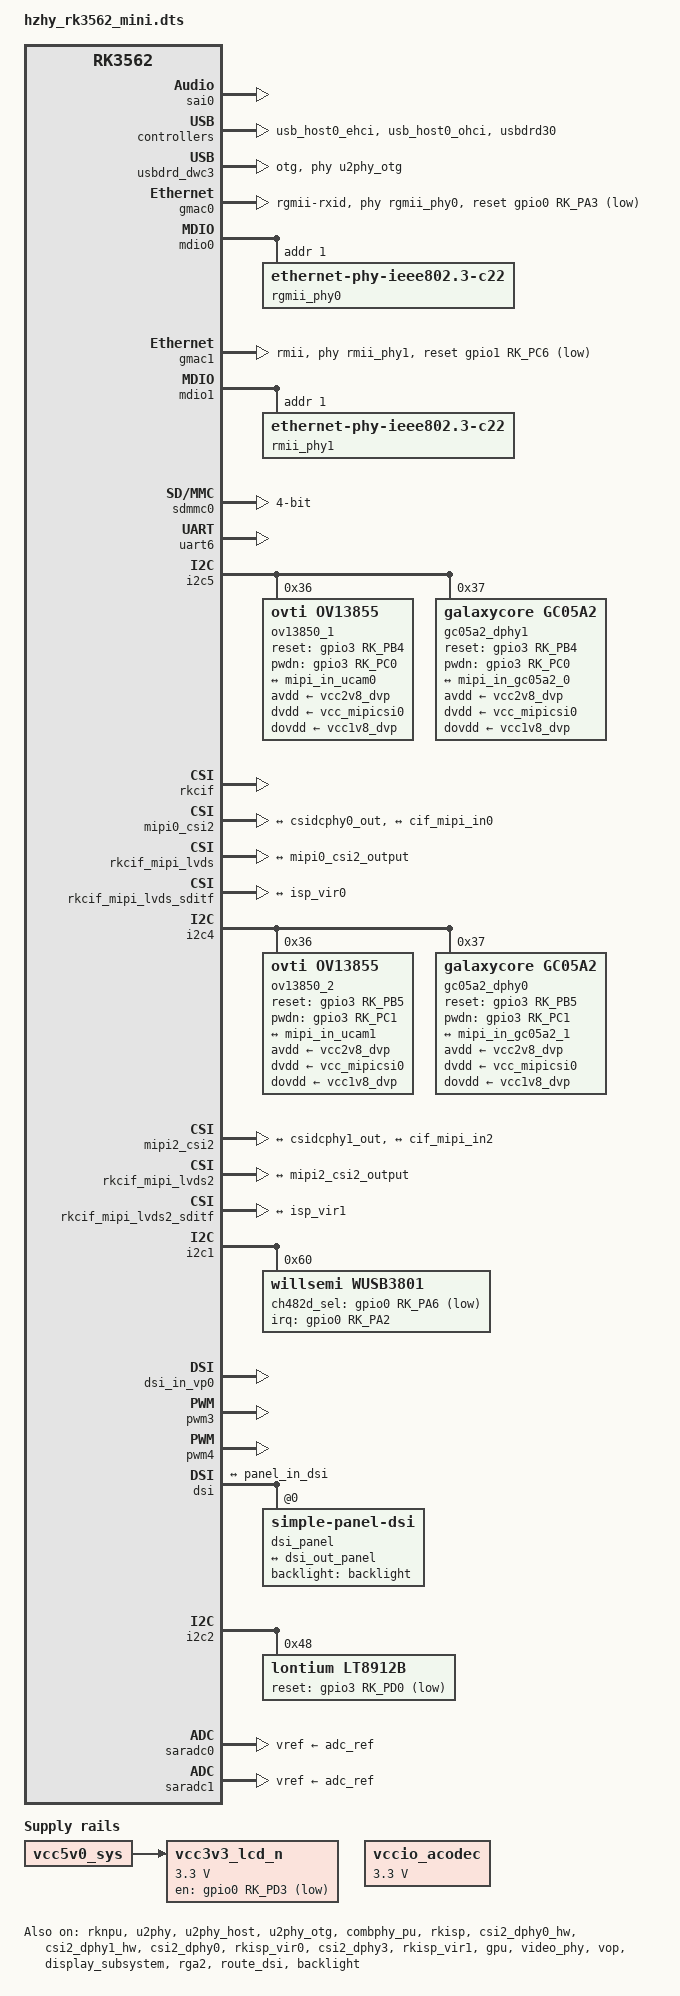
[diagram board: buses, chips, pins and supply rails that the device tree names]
// SPDX-License-Identifier: (GPL-2.0+ OR MIT)
/*
 * Copyright (c) 2022 Rockchip Electronics Co., Ltd.
 *
 * HZ-RK3562 MiniEVM - ported from vendor SDK kernel-5.10 to Rockchip BSP 6.1
 * (armbian/linux-rockchip rk-6.1-rkr7.2). Changes vs. vendor 5.10:
 *  - removed duplicate #include "rk3562-rk809.dtsi" (already in hzhy_rk3562_mini.dtsi)
 *  - DSI flags: MIPI_DSI_MODE_VIDEO_HBP -> MIPI_DSI_MODE_VIDEO_NO_HBP,
 *               MIPI_DSI_MODE_EOT_PACKET -> MIPI_DSI_MODE_NO_EOT_PACKET
 *    (6.1 renamed macros, identical bit values => identical behaviour)
 *  - disabled EVB touchscreen nodes (gt1x@14, hynitron@5a) inherited from
 *    rk3562-evb.dtsi: not present on this board, they toggled GPIO0_A0/GPIO0_B0
 */
#include "hzhy_rk3562_mini.dtsi"
#include "HZ-MiniEVM_EXP.dtsi"

/ {
	version = "v1.1.0_20250321";
};

&rknpu {
    status = "okay";
};

&rknpu_mmu {
    status = "okay";
};

&sai0 {
	status = "okay";
	pinctrl-names = "default";
	pinctrl-0 = <&i2s0m0_lrck
		     &i2s0m0_sclk
		     &i2s0m0_sdi0
		     &i2s0m0_sdo0>;
};

&spdif_8ch {
	pinctrl-0 = <&spdifm0_pins>;
	status = "disabled";
};

&vcc3v3_lcd_n {
	gpio = <&gpio0 RK_PD3 GPIO_ACTIVE_HIGH>;
	regulator-min-microvolt = <3300000>;
	regulator-max-microvolt = <3300000>;
	regulator-always-on;
	regulator-boot-on;
	startup-delay-us = <100000>;
	pinctrl-names = "default";
	pinctrl-0 = <&lcd_pwr_en>;
	vin-supply = <&vcc5v0_sys>;
};



//=================================================================
//USB2.0
&u2phy {
	status = "okay";
};

&u2phy_host {
	status = "okay";
	phy-supply = <&vcc5v0_usb_host>;
};

&u2phy_otg {
	status = "okay";
	vbus-supply = <&vcc5v0_usb_otg>;
};

&usb_host0_ehci {
	status = "okay";
};

&usb_host0_ohci {
	status = "okay";
};

//==================================================================
//USB3.0
&usbdrd30 {
	status = "okay";
};

&combphy_pu {
	status = "okay";
};

&usbdrd_dwc3 {
	status = "okay";
        dr_mode = "otg";
	extcon = <&u2phy>;
        phys =  <&u2phy_otg>, <&combphy_pu PHY_TYPE_USB3>;
        phy-names = "usb2-phy", "usb3-phy";
};

//==================================================================
//网口 rtl8211  eth0
&gmac0 {
	/* Use rgmii-rxid mode to disable rx delay inside Soc */
	phy-mode = "rgmii-rxid";
	clock_in_out = "output";

	snps,reset-gpio = <&gpio0 RK_PA3 GPIO_ACTIVE_LOW>;
	snps,reset-active-low;
	/* Reset time is 20ms, 100ms for rtl8211f */
	snps,reset-delays-us = <0 20000 100000>;

	tx_delay = <0x42>;

	pinctrl-names = "default";
	pinctrl-0 = <&rgmiim0_miim
		     &rgmiim0_tx_bus2
		     &rgmiim0_rx_bus2
		     &rgmiim0_rgmii_clk
		     &rgmiim0_rgmii_bus
             >;

	phy-handle = <&rgmii_phy0>;
	status = "okay";
};

&mdio0 {
	rgmii_phy0: phy@0 {
		compatible = "ethernet-phy-ieee802.3-c22";
		reg = <0x1>;
		clocks = <&cru CLK_GMAC_ETH_OUT2IO>;
		assigned-clocks = <&cru CLK_GMAC_ETH_OUT2IO>;
		assigned-clock-rates = <25000000>;
	};
};

//8512 eth1
&gmac1 {
	status = "okay";
	/* Use rgmii-rxid mode to disable rx delay inside Soc */
	phy-mode = "rmii";
	clock_in_out = "input";

	snps,reset-gpio = <&gpio1 RK_PC6 GPIO_ACTIVE_LOW>;
	snps,reset-active-low;
	/* Reset time is 20ms, 100ms for rtl8211f */
	snps,reset-delays-us = <0 20000 100000>;

	pinctrl-names = "default";
	pinctrl-0 = <&rmii_pins
		     &ethm1_pins>;

	phy-handle = <&rmii_phy1>;	
};

&mdio1 {
	rmii_phy1: phy@1 {
		compatible = "ethernet-phy-ieee802.3-c22";
		reg = <0x1>;
		clocks = <&cru CLK_GMAC_ETH_OUT2IO>;
		assigned-clocks = <&cru CLK_GMAC_ETH_OUT2IO>;
		assigned-clock-rates = <25000000>;
	};
};

//==================================================================
//SD
&sdmmc0 {
	max-frequency = <150000000>;
	no-sdio;
	no-mmc;
	bus-width = <4>;
	cap-mmc-highspeed;
	cap-sd-highspeed;
	disable-wp;
	pinctrl-names = "default";
	pinctrl-0 = <&sdmmc0_bus4 &sdmmc0_clk &sdmmc0_cmd &sdmmc0_det>;
	status = "okay";
};

&vccio_acodec{
        regulator-always-on;
        regulator-boot-on;
        regulator-min-microvolt = <3300000>;
        regulator-max-microvolt = <3300000>;
        regulator-name = "vccio_acodec";
        regulator-state-mem {
                regulator-off-in-suspend;
        };
};

//==================================================================
//RS485
&uart6 {
     pinctrl-names = "default";
     pinctrl-0 = <&uart6m0_xfer>;
     status = "disabled";
};


//==================================================================
//MIPI camera imx415  
 &i2c5{
     status = "okay";
     pinctrl-names = "default";
     pinctrl-0 = <&i2c5m0_xfer>;
	
     ov13850_1: ov13850_1@36 {
         status = "okay";
         compatible = "ovti,ov13855";
	
         reg = <0x36>;
		
         clocks = <&cru CLK_CAM0_OUT2IO>;
         clock-names = "xvclk";
         pinctrl-names = "rockchip,camera_default";
         pinctrl-0 = <&camm0_clk0_out>;

 		reset-gpios = <&gpio3 RK_PB4 GPIO_ACTIVE_HIGH>;
 	 	pwdn-gpios = <&gpio3 RK_PC0 GPIO_ACTIVE_HIGH>;

 		avdd-supply = <&vcc2v8_dvp>;
 		dvdd-supply = <&vcc_mipicsi0>;
 		dovdd-supply = <&vcc1v8_dvp>;
        
         rockchip,camera-module-index = <1>;
         rockchip,camera-module-facing = "back";
         rockchip,camera-module-name = "KYT-10203-v1";
         rockchip,camera-module-lens-name = "default";
	

 		port {
             ov13850_out0: endpoint {
                 remote-endpoint = <&mipi_in_ucam0>;
                 data-lanes = <1 2 3 4>;
             };
         };
     };

     gc05a2_dphy1: gc05a2-0@37 {
         compatible = "galaxycore,gc05a2";
         status = "okay";
         reg = <0x37>;
     
         clocks = <&cru CLK_CAM0_OUT2IO>;
         clock-names = "xvclk";
         pinctrl-names = "rockchip,camera_default";
         pinctrl-0 = <&camm0_clk0_out>;
     
                 reset-gpios = <&gpio3 RK_PB4 GPIO_ACTIVE_HIGH>;
                 pwdn-gpios = <&gpio3 RK_PC0 GPIO_ACTIVE_HIGH>;
     
                 avdd-supply = <&vcc2v8_dvp>;
                 dvdd-supply = <&vcc_mipicsi0>;
                 dovdd-supply = <&vcc1v8_dvp>;
         rockchip,camera-module-index = <0>;
         rockchip,camera-module-facing = "back";
         rockchip,camera-module-name = "KYT-11210-V2";
         rockchip,camera-module-lens-name = "default";
     
         port {
                 gc05a2_out_dphy0: endpoint {
                     remote-endpoint = <&mipi_in_gc05a2_0>;
                     data-lanes = <1 2>;
                 };
             };
         };
 };
//MIPI cif isp

&rkcif{
    status = "okay";
};

&rkcif_mmu{
    status = "okay";
};

&rkisp {
    status = "okay";
};

&rkisp_mmu {
    status = "okay";
};

&csi2_dphy0_hw {
    status = "okay";
};
&csi2_dphy1_hw {
    status = "okay";
};


//U14
&csi2_dphy0 {
    status = "okay";
    ports {
        #address-cells = <1>;
        #size-cells = <0>;
        port@0 {
            reg = <0>;
            #address-cells = <1>;
            #size-cells = <0>;

            mipi_in_gc05a2_0: endpoint@1 {
                reg = <1>;
                remote-endpoint = <&gc05a2_out_dphy0>;
                data-lanes = <1 2>;
            };

            mipi_in_ucam0: endpoint@2 {
                reg = <1>;
                remote-endpoint = <&ov13850_out0>;
                data-lanes = <1 2 3 4>;
            };
        };
        port@1 {
            reg = <1>;
            #address-cells = <1>;
            #size-cells = <0>;
            csidcphy0_out: endpoint@0 {
                    reg = <0>;
                    remote-endpoint = <&mipi0_csi2_input>;
            };
        };
    };
};


&mipi0_csi2 {
    status = "okay";
    ports {
        #address-cells = <1>;
        #size-cells = <0>;
        port@0 {
            reg = <0>;
            #address-cells = <1>;
            #size-cells = <0>;
            mipi0_csi2_input: endpoint@1 {
                reg = <1>;
                remote-endpoint = <&csidcphy0_out>;
            };
        };
        port@1 {
            reg = <1>;
            #address-cells = <1>;
            #size-cells = <0>;
            mipi0_csi2_output: endpoint@0 {
                reg = <0>;
                remote-endpoint = <&cif_mipi_in0>;
            };
        };
    };
};


&rkcif_mipi_lvds {
    status = "okay";
    port {
        cif_mipi_in0: endpoint {
            remote-endpoint = <&mipi0_csi2_output>;
        };
    };
};

&rkcif_mipi_lvds_sditf {
    status = "okay";
    port {
        mipi0_lvds_sditf: endpoint {
            remote-endpoint = <&isp_vir0>;
        };
    };
};

&rkisp_vir0 {
    status = "okay";
    port {
        #address-cells = <1>;
        #size-cells = <0>;
        isp_vir0: endpoint@0 {
            reg = <0>;
            remote-endpoint = <&mipi0_lvds_sditf>;
        };
    };
};

&i2c4{
    status = "okay";
    pinctrl-names = "default";
    pinctrl-0 = <&i2c4m0_xfer>;

   /*DPHY1 U15 rkisp_vir1*/
   
    ov13850_2: ov13850_2@36 {
        status = "okay";
        compatible = "ovti,ov13855";
        reg = <0x36>;
		
        
        clocks = <&cru CLK_CAM1_OUT2IO>;
        clock-names = "xvclk";
		
		
        pinctrl-names = "default";
        pinctrl-0 = <&camm0_clk1_out>;
		
     	reset-gpios = <&gpio3 RK_PB5 GPIO_ACTIVE_HIGH>;
	 	pwdn-gpios = <&gpio3 RK_PC1 GPIO_ACTIVE_HIGH>;

		avdd-supply = <&vcc2v8_dvp>;
		dvdd-supply = <&vcc_mipicsi0>;
		dovdd-supply = <&vcc1v8_dvp>;
  		
        rockchip,camera-module-index = <0>;
        rockchip,camera-module-facing = "back";
        rockchip,camera-module-name = "KYT-10203-v1";
        rockchip,camera-module-lens-name = "default";
		
        port {
            imx415_out1: endpoint {
                remote-endpoint = <&mipi_in_ucam1>;
                data-lanes = <1 2 3 4>;
            };
        };
    };

    gc05a2_dphy0: gc05a2-1@37 {
        compatible = "galaxycore,gc05a2";
        status = "okay";
        reg = <0x37>;
        clocks = <&cru CLK_CAM1_OUT2IO>;
        clock-names = "xvclk";
    
    
        pinctrl-names = "default";
        pinctrl-0 = <&camm0_clk1_out>;
    
        reset-gpios = <&gpio3 RK_PB5 GPIO_ACTIVE_HIGH>;
                pwdn-gpios = <&gpio3 RK_PC1 GPIO_ACTIVE_HIGH>;
    
                avdd-supply = <&vcc2v8_dvp>;
                dvdd-supply = <&vcc_mipicsi0>;
                dovdd-supply = <&vcc1v8_dvp>;
    
        rockchip,camera-module-index = <1>;
        rockchip,camera-module-facing = "back";
        rockchip,camera-module-name = "KYT-11210-V2";
        rockchip,camera-module-lens-name = "default";
        port{
                gc05a2_out_dphy1: endpoint {
                    remote-endpoint = <&mipi_in_gc05a2_1>;
                    data-lanes = <1 2>;
            };
        };
    };
};

//U15
&csi2_dphy3 {
    status = "okay";
    ports {
        #address-cells = <1>;
        #size-cells = <0>;
        port@0 {
            reg = <0>;
            #address-cells = <1>;
            #size-cells = <0>;

            mipi_in_gc05a2_1: endpoint@1 {                                                                                                                    
                reg = <1>;
                remote-endpoint = <&gc05a2_out_dphy1>;
                data-lanes = <1 2>;
            };

            mipi_in_ucam1: endpoint@2 {
                reg = <1>;
                remote-endpoint = <&imx415_out1>;
                data-lanes = <1 2 3 4>;
            };
        };
        port@1 {
            reg = <1>;
            #address-cells = <1>;
            #size-cells = <0>;
            csidcphy1_out: endpoint@0 {
                    reg = <0>;
                    remote-endpoint = <&mipi2_csi2_input>;
            };
        };
    };
};


&mipi2_csi2 {
    status = "okay";
    ports {
        #address-cells = <1>;
        #size-cells = <0>;
        port@0 {
            reg = <0>;
            #address-cells = <1>;
            #size-cells = <0>;
            mipi2_csi2_input: endpoint@1 {
                reg = <1>;
                remote-endpoint = <&csidcphy1_out>;
            };
        };
        port@1 {
            reg = <1>;
            #address-cells = <1>;
            #size-cells = <0>;
            mipi2_csi2_output: endpoint@0 {
                reg = <0>;
                remote-endpoint = <&cif_mipi_in2>;
            };
        };
    };
};

&rkcif_mipi_lvds2 {
    status = "okay";
    port {
        cif_mipi_in2: endpoint {
            remote-endpoint = <&mipi2_csi2_output>;
        };
    };
};

&rkcif_mipi_lvds2_sditf {
    status = "okay";
    port {
        mipi2_lvds_sditf: endpoint {
            remote-endpoint = <&isp_vir1>;
        };
    };
};

&rkisp_vir1 {
    status = "okay";
    port {
        #address-cells = <1>;
        #size-cells = <0>;
        isp_vir1: endpoint@0 {
            reg = <0>;
            remote-endpoint = <&mipi2_lvds_sditf>;
        };
    };
};

&i2c1{
	status = "okay";
	pinctrl-names = "default";
	pinctrl-0 = <&i2c1m0_xfer>;

	wusb3801: tcpc@60 {
		status = "okay";
		compatible = "willsemi,wusb3801";
		reg = <0x60>;
		pinctrl-names = "default";
		pinctrl-0 = <&wusb3801_int_pin &ch482d_sel_pin>;
		interrupt-parent = <&gpio0>;
		interrupts = <RK_PA2 IRQ_TYPE_LEVEL_LOW>;
		ch482d_sel-gpios = <&gpio0 RK_PA6 GPIO_ACTIVE_LOW>;
	};
};


// GPU 
&gpu {
	status = "okay";
	mali-supply = <&vdd_gpu>;
};

//VOP
&video_phy {
	status = "okay";
};

&vop {
 status = "okay";
};

&vop_mmu {
 status = "okay";
};

&display_subsystem {
	status = "okay";
};


&rkcif{
    status = "okay";
};

&rkcif_mmu{
    status = "okay";
};

&rkisp {
    status = "okay";
};

&rkisp_mmu {
    status = "okay";
};

&csi2_dphy0_hw {
    status = "okay";
};
&csi2_dphy1_hw {
    status = "okay";
};

// RGA
&rga2 {
	status = "okay";
};

&rga2_mmu {
	status = "okay";
};


// Route
&route_dsi{
	connect = <&vp0_out_dsi>;
	status = "okay";
};

&route_lvds{
	status = "disabled";
};

&route_rgb{
	status = "disabled";
};


/* MIPI DSI0 */
&dsi_in_vp0{
	status = "okay";
};


&backlight {
	pwms = <&pwm3 0 20000 0>;
    	status = "okay";
};


&pwm3 {
	status = "okay";
};

&pwm4{
	status = "okay";
};

&dsi {
	status = "okay";
	//rockchip,lane-rate = <1000>;
	dsi_panel: panel@0 {
		status = "okay";
		compatible = "simple-panel-dsi";
		reg = <0>;
		backlight = <&backlight>;
		reset-delay-ms = <60>;
		enable-delay-ms = <60>;
		prepare-delay-ms = <60>;
		unprepare-delay-ms = <60>;
		disable-delay-ms = <60>;
		width-mm = <68>;
		height-mm = <121>;

		backlight = <&backlight>;

		// dsi,flags = <(MIPI_DSI_MODE_VIDEO | MIPI_DSI_MODE_VIDEO_BURST |
		// 	MIPI_DSI_MODE_LPM | MIPI_DSI_MODE_NO_EOT_PACKET)>;

		dsi,flags = <(MIPI_DSI_MODE_VIDEO | MIPI_DSI_MODE_VIDEO_BURST |
			MIPI_DSI_MODE_VIDEO_NO_HBP | MIPI_DSI_MODE_NO_EOT_PACKET)>;



		dsi,format = <MIPI_DSI_FMT_RGB888>;
		dsi,lanes  = <4>;
		panel-init-sequence = [
			23 00 02 FE 21
			23 00 02 04 00
			23 00 02 00 64
			23 00 02 2A 00
			23 00 02 26 64
			23 00 02 54 00
			23 00 02 50 64
			23 00 02 7B 00
			23 00 02 77 64
			23 00 02 A2 00
			23 00 02 9D 64
			23 00 02 C9 00
			23 00 02 C5 64
			23 00 02 01 71
			23 00 02 27 71
			23 00 02 51 71
			23 00 02 78 71
			23 00 02 9E 71
			23 00 02 C6 71
			23 00 02 02 89
			23 00 02 28 89
			23 00 02 52 89
			23 00 02 79 89
			23 00 02 9F 89
			23 00 02 C7 89
			23 00 02 03 9E
			23 00 02 29 9E
			23 00 02 53 9E
			23 00 02 7A 9E
			23 00 02 A0 9E
			23 00 02 C8 9E
			23 00 02 09 00
			23 00 02 05 B0
			23 00 02 31 00
			23 00 02 2B B0
			23 00 02 5A 00
			23 00 02 55 B0
			23 00 02 80 00
			23 00 02 7C B0
			23 00 02 A7 00
			23 00 02 A3 B0
			23 00 02 CE 00
			23 00 02 CA B0
			23 00 02 06 C0
			23 00 02 2D C0
			23 00 02 56 C0
			23 00 02 7D C0
			23 00 02 A4 C0
			23 00 02 CB C0
			23 00 02 07 CF
			23 00 02 2F CF
			23 00 02 58 CF
			23 00 02 7E CF
			23 00 02 A5 CF
			23 00 02 CC CF
			23 00 02 08 DD
			23 00 02 30 DD
			23 00 02 59 DD
			23 00 02 7F DD
			23 00 02 A6 DD
			23 00 02 CD DD
			23 00 02 0E 15
			23 00 02 0A E9
			23 00 02 36 15
			23 00 02 32 E9
			23 00 02 5F 15
			23 00 02 5B E9
			23 00 02 85 15
			23 00 02 81 E9
			23 00 02 AD 15
			23 00 02 A9 E9
			23 00 02 D3 15
			23 00 02 CF E9
			23 00 02 0B 14
			23 00 02 33 14
			23 00 02 5C 14
			23 00 02 82 14
			23 00 02 AA 14
			23 00 02 D0 14
			23 00 02 0C 36
			23 00 02 34 36
			23 00 02 5D 36
			23 00 02 83 36
			23 00 02 AB 36
			23 00 02 D1 36
			23 00 02 0D 6B
			23 00 02 35 6B
			23 00 02 5E 6B
			23 00 02 84 6B
			23 00 02 AC 6B
			23 00 02 D2 6B
			23 00 02 13 5A
			23 00 02 0F 94
			23 00 02 3B 5A
			23 00 02 37 94
			23 00 02 64 5A
			23 00 02 60 94
			23 00 02 8A 5A
			23 00 02 86 94
			23 00 02 B2 5A
			23 00 02 AE 94
			23 00 02 D8 5A
			23 00 02 D4 94
			23 00 02 10 D1
			23 00 02 38 D1
			23 00 02 61 D1
			23 00 02 87 D1
			23 00 02 AF D1
			23 00 02 D5 D1
			23 00 02 11 04
			23 00 02 39 04
			23 00 02 62 04
			23 00 02 88 04
			23 00 02 B0 04
			23 00 02 D6 04
			23 00 02 12 05
			23 00 02 3A 05
			23 00 02 63 05
			23 00 02 89 05
			23 00 02 B1 05
			23 00 02 D7 05
			23 00 02 18 AA
			23 00 02 14 36
			23 00 02 42 AA
			23 00 02 3D 36
			23 00 02 69 AA
			23 00 02 65 36
			23 00 02 8F AA
			23 00 02 8B 36
			23 00 02 B7 AA
			23 00 02 B3 36
			23 00 02 DD AA
			23 00 02 D9 36
			23 00 02 15 74
			23 00 02 3F 74
			23 00 02 66 74
			23 00 02 8C 74
			23 00 02 B4 74
			23 00 02 DA 74
			23 00 02 16 9F
			23 00 02 40 9F
			23 00 02 67 9F
			23 00 02 8D 9F
			23 00 02 B5 9F
			23 00 02 DB 9F
			23 00 02 17 DC
			23 00 02 41 DC
			23 00 02 68 DC
			23 00 02 8E DC
			23 00 02 B6 DC
			23 00 02 DC DC
			23 00 02 1D FF
			23 00 02 19 03
			23 00 02 47 FF
			23 00 02 43 03
			23 00 02 6E FF
			23 00 02 6A 03
			23 00 02 94 FF
			23 00 02 90 03
			23 00 02 BC FF
			23 00 02 B8 03
			23 00 02 E2 FF
			23 00 02 DE 03
			23 00 02 1A 35
			23 00 02 44 35
			23 00 02 6B 35
			23 00 02 91 35
			23 00 02 B9 35
			23 00 02 DF 35
			23 00 02 1B 45
			23 00 02 45 45
			23 00 02 6C 45
			23 00 02 92 45
			23 00 02 BA 45
			23 00 02 E0 45
			23 00 02 1C 55
			23 00 02 46 55
			23 00 02 6D 55
			23 00 02 93 55
			23 00 02 BB 55
			23 00 02 E1 55
			23 00 02 22 FF
			23 00 02 1E 68
			23 00 02 4C FF
			23 00 02 48 68
			23 00 02 73 FF
			23 00 02 6F 68
			23 00 02 99 FF
			23 00 02 95 68
			23 00 02 C1 FF
			23 00 02 BD 68
			23 00 02 E7 FF
			23 00 02 E3 68
			23 00 02 1F 7E
			23 00 02 49 7E
			23 00 02 70 7E
			23 00 02 96 7E
			23 00 02 BE 7E
			23 00 02 E4 7E
			23 00 02 20 97
			23 00 02 4A 97
			23 00 02 71 97
			23 00 02 97 97
			23 00 02 BF 97
			23 00 02 E5 97
			23 00 02 21 B5
			23 00 02 4B B5
			23 00 02 72 B5
			23 00 02 98 B5
			23 00 02 C0 B5
			23 00 02 E6 B5
			23 00 02 25 F0
			23 00 02 23 E8
			23 00 02 4F F0
			23 00 02 4D E8
			23 00 02 76 F0
			23 00 02 74 E8
			23 00 02 9C F0
			23 00 02 9A E8
			23 00 02 C4 F0
			23 00 02 C2 E8
			23 00 02 EA F0
			23 00 02 E8 E8
			23 00 02 24 FF
			23 00 02 4E FF
			23 00 02 75 FF
			23 00 02 9B FF
			23 00 02 C3 FF
			23 00 02 E9 FF
			23 00 02 FE 3D
			23 00 02 00 04
			23 00 02 FE 23
			23 00 02 08 82
			23 00 02 0A 00
			23 00 02 0B 00
			23 00 02 0C 01
			23 00 02 16 00
			23 00 02 18 02
			23 00 02 1B 04
			23 00 02 19 04
			23 00 02 1C 81
			23 00 02 1F 00
			23 00 02 20 03
			23 00 02 23 04
			23 00 02 21 01
			23 00 02 54 63
			23 00 02 55 54
			23 00 02 6E 45
			23 00 02 6D 36
			23 00 02 FE 3D
			23 00 02 55 78
			23 00 02 FE 20
			23 00 02 26 30
			23 00 02 FE 3D
			23 00 02 20 71
			23 00 02 50 8F
			23 00 02 51 8F
			23 00 02 FE 00
			23 00 02 35 00
			05 78 01 11
			05 1E 01 29
		];

		panel-exit-sequence = [
			05 00 01 28
			05 00 01 10
		];

		disp_timings0: display-timings {
			native-mode = <&dsi_timing0>;
			dsi_timing0: timing0 {
				clock-frequency = <149000000>;
				hactive = <1920>;
				vactive = <1080>;
				hfront-porch = <90>; 
				hsync-len = <45>;
				hback-porch = <145>; 
				vfront-porch = <4>; 
				vsync-len = <5>; 
				vback-porch = <36>; 
				hsync-active = <0>; 
				vsync-active = <1>; 
				de-active = <0>; 
				pixelclk-active = <0>; 
			};
		};

		ports {
			#address-cells = <1>;
			#size-cells = <0>;

			port@0 {
				reg = <0>;
				panel_in_dsi: endpoint {
					remote-endpoint = <&dsi_out_panel>;
				};
			};
		};
	};

	ports {
		#address-cells = <1>;
		#size-cells = <0>;

		port@1 {
			reg = <1>;
			dsi_out_panel: endpoint {
				remote-endpoint = <&panel_in_dsi>;
			};
		};
	};

};



// rk3562-evb.dtsi 在 i2c2 上挂了 EVB 的触摸屏，本板没有，禁用
&gt1x {
	status = "disabled";
};

&hynitron {
	status = "disabled";
};

// MIPI -> HDMI 桥接芯片
&i2c2 {
	status = "okay";
	pinctrl-names = "default";
	pinctrl-0 = <&i2c2m0_xfer>;

	lt8912b: lt8912b@48 {
		compatible = "lontium,lt8912b";
		reg = <0x48>;
//		mux-gpios = <&gpio0 RK_PC7 GPIO_ACTIVE_LOW>;
		reset-gpios = <&gpio3 RK_PD0 GPIO_ACTIVE_LOW>;
		status = "okay";
	};
};


//==================================================================
//PCIE 2.0

&pcie2x1 {
	reset-gpios = <&gpio3 RK_PB0 GPIO_ACTIVE_HIGH>;
	vpcie3v3-supply = <&vcc3v3_pcie20>;
	status = "disabled";
};

//ADC

&saradc0 {
 status = "okay";
 vref-supply = <&adc_ref>;
};

&saradc1 {
 status = "okay";
 vref-supply = <&adc_ref>;
};

&uart6 {
     pinctrl-names = "default";
     pinctrl-0 = <&uart6m0_xfer>;
     status = "okay";
};

&pinctrl {
    pinctrl-names = "default";
    pinctrl-0 = <&user_gpios>;
    wusb3801 {
        wusb3801_int_pin: wusb3801-int-pin {
            rockchip,pins = <0 RK_PA2 RK_FUNC_GPIO &pcfg_pull_none>;
        };
        ch482d_sel_pin: ch482d-sel-pin {
            rockchip,pins = <0 RK_PA6 RK_FUNC_GPIO &pcfg_pull_none>;
        };
    };

    usb0 {
        usb_otg_pwren: usb_otg_pwren {
            rockchip,pins = <3 RK_PB0 RK_FUNC_GPIO &pcfg_pull_none>;
        };
    };

    headphone {
        hp_det: hp-det {
            rockchip,pins = <3 RK_PC6 RK_FUNC_GPIO &pcfg_pull_none>;
        };
    };

    sdcard_det_pin {
        carddet_pin: carddet-pin {
            rockchip,pins = <0 RK_PB0 RK_FUNC_GPIO &pcfg_pull_up>;
        };
    };

    lcd {
        lcd_rst_gpio: lcd-rst-gpio {
            rockchip,pins = <0 RK_PA6 RK_FUNC_GPIO &pcfg_pull_none>;
        };
    };

    sdio-pwrseq {
        wifi_enable_h: wifi-enable-h {
            rockchip,pins = <0 RK_PB3 RK_FUNC_GPIO &pcfg_pull_none>;
        };
    };

    lcd {
        lcd_pwr_en: lcd-pwr-en {
            rockchip,pins = <0 RK_PD3 RK_FUNC_GPIO &pcfg_pull_up>;
        };
    };

    cam {
        mipicsi0_pwr: mipicsi0-pwr {
            rockchip,pins =
                /* camera power en */
                <1 RK_PC3 RK_FUNC_GPIO &pcfg_pull_none>;
        };
    };

    ft5406_INT {
        ft5406_INT: ft5406_INT-pins {
            rockchip,pins =
                <4 RK_PB5 RK_FUNC_GPIO &pcfg_pull_none>;
        };
    };

    backlight {
        bl_en_gpio: bl-en-gpio {
            rockchip,pins = <0 RK_PC1 RK_FUNC_GPIO &pcfg_pull_none>;
        };
    };

    usergpio {
        user_gpios: user-gpios {
            rockchip,pins = <0 RK_PA0 RK_FUNC_GPIO &pcfg_pull_none>,    //REFCLK_OUT/GPIO0_A0
                            <3 RK_PD1 RK_FUNC_GPIO &pcfg_pull_none>,    //UART4_RX_M0/GPIO3_D1
                            <1 RK_PC1 RK_FUNC_GPIO &pcfg_pull_none>,    //PWM8_M1/GPIO1_C1
                            <1 RK_PC2 RK_FUNC_GPIO &pcfg_pull_none>,    //PWM9_M1/GPIO1_C2
                            <3 RK_PD3 RK_FUNC_GPIO &pcfg_pull_none>,    //SPI2_MOSI_M0/GPIO3_D3
                            <3 RK_PD2 RK_FUNC_GPIO &pcfg_pull_none>,    //SPI2_MISO_M0/GPIO3_D2
                            <4 RK_PB6 RK_FUNC_GPIO &pcfg_pull_none>,    //SPI2_CLK_M0/GPIO4_B6
                            <3 RK_PA1 RK_FUNC_GPIO &pcfg_pull_none>,    //UART2_RX_M1/CAN0_RX_M0/GPIO3_A1
                            <3 RK_PC5 RK_FUNC_GPIO &pcfg_pull_none>,    //UART4_CTSN_M0/GPIO3_C5
                            // <3 RK_PA6 RK_FUNC_GPIO &pcfg_pull_none>,    //UART5_TX_M1/GPIO3_A6
                            // <3 RK_PC4 RK_FUNC_GPIO &pcfg_pull_none>,    //UART7_TX_M0/GPIO3_C4
                            // <3 RK_PA7 RK_FUNC_GPIO &pcfg_pull_none>,    //UART5_RX_M1/GPIO3_A7
                            // <3 RK_PC7 RK_FUNC_GPIO &pcfg_pull_none>,    //UART7_RX_M0/GPIO3_C7
                            // <0 RK_PC7 RK_FUNC_GPIO &pcfg_pull_none>,    //UART6_RX_M0/GPIO0_C7
                            // <0 RK_PC6 RK_FUNC_GPIO &pcfg_pull_none>,    //UART6_TX_M0/GPIO0_C6
                            <0 RK_PB0 RK_FUNC_GPIO &pcfg_pull_none>,    //CLK32K_OUT0/GPIO0_B0
                            <0 RK_PA5 RK_FUNC_GPIO &pcfg_pull_none>,    //I2C4_SCL_M1/GPIO0_A5
                            <0 RK_PC0 RK_FUNC_GPIO &pcfg_pull_none>,    //CAN1_TX_M1/GPIO0_C0
                            <0 RK_PC4 RK_FUNC_GPIO &pcfg_pull_none>,    //SPI0_MOSI_M0/GPIO0_C4
                            <4 RK_PB5 RK_FUNC_GPIO &pcfg_pull_none>,    //SPI2_CS0_M0/I2C1_SDA_M1/GPIO4_B5
                            <4 RK_PB4 RK_FUNC_GPIO &pcfg_pull_none>,    //SPI2_CS1_M0/I2C1_SCL_M1/GPIO4_B4
                            <3 RK_PA0 RK_FUNC_GPIO &pcfg_pull_none>,    //UART2_TX_M1/CAN0_TX_M0/GPIO3_A0
                            <4 RK_PB0 RK_FUNC_GPIO &pcfg_pull_none>,    //RGMII_RXER/GPIO4_B0
                            <4 RK_PB7 RK_FUNC_GPIO &pcfg_pull_none>,    //RGMII_CLK/GPIO4_B7
                            <4 RK_PB1 RK_FUNC_GPIO &pcfg_pull_none>,    //ETH_REFCLKO_25M_M0/GPIO4_B1
                            <1 RK_PC5 RK_FUNC_GPIO &pcfg_pull_none>,    //PWM0_M1/GPIO1_C5
                            <1 RK_PC4 RK_FUNC_GPIO &pcfg_pull_none>,    //PWM11_M1/GPIO1_C4
                            <0 RK_PC3 RK_FUNC_GPIO &pcfg_pull_none>,    //SPI0_CLK_M0/GPIO0_C3
                            <0 RK_PC2 RK_FUNC_GPIO &pcfg_pull_none>,    //SPI0_CS0_M0/GPIO0_C2
                            <0 RK_PC5 RK_FUNC_GPIO &pcfg_pull_none>;    //SPI0_MISO_M0/GPIO0_C5
        };
    };

};

//耳机
//录音
&pdm {
	status = "disabled";
};

